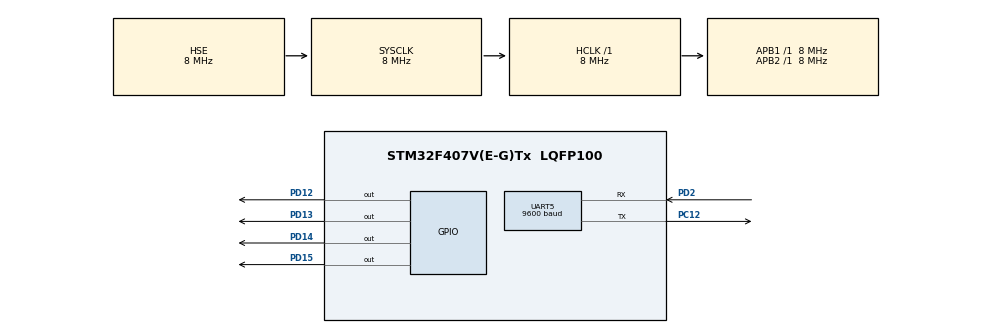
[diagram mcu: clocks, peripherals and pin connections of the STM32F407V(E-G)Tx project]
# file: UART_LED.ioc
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Mcu.Family=STM32F4
Mcu.Name=STM32F407V(E-G)Tx
Mcu.Package=LQFP100
NVIC.PriorityGroup=NVIC_PRIORITYGROUP_0
NVIC.UART5_IRQn=true\:0\:0\:false\:false\:true\:true\:true\:true
PA13.Mode=Serial_Wire
PA13.Signal=SYS_JTMS-SWDIO
PA14.Mode=Serial_Wire
PA14.Signal=SYS_JTCK-SWCLK
PC12.Mode=Asynchronous
PC12.Signal=UART5_TX
PD12.Signal=GPIO_Output
PD13.Signal=GPIO_Output
PD14.Signal=GPIO_Output
PD15.Signal=GPIO_Output
PD2.Mode=Asynchronous
PD2.Signal=UART5_RX
PH0-OSC_IN.Mode=HSE-External-Oscillator
PH0-OSC_IN.Signal=RCC_OSC_IN
PH1-OSC_OUT.Mode=HSE-External-Oscillator
PH1-OSC_OUT.Signal=RCC_OSC_OUT
ProjectManager.HeapSize=0x200
ProjectManager.StackSize=0x400
ProjectManager.TargetToolchain=STM32CubeIDE
RCC.48MHZClocksFreq_Value=48000000
RCC.AHBFreq_Value=8000000
RCC.APB1Freq_Value=8000000
RCC.APB1TimFreq_Value=8000000
RCC.APB2Freq_Value=8000000
RCC.APB2TimFreq_Value=8000000
RCC.CortexFreq_Value=8000000
RCC.HCLKFreq_Value=8000000
RCC.HSE_VALUE=8000000
RCC.HSI_VALUE=16000000
RCC.LSE_VALUE=32768
RCC.PLLM=8
RCC.PLLN=336
RCC.PLLQ=7
RCC.PLLSourceVirtual=RCC_PLLSOURCE_HSE
RCC.SYSCLKFreq_VALUE=8000000
RCC.SYSCLKSource=RCC_SYSCLKSOURCE_HSE
RCC.VCOOutputFreq_Value=336000000
UART5.BaudRate=9600
UART5.VirtualMode=Asynchronous
board=STM32F407G-DISC1

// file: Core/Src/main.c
/* USER CODE BEGIN Header */
/**
  ******************************************************************************
  * @file           : main.c
  * @brief          : Main program body
  ******************************************************************************
  * @attention
  *
  * Copyright (c) 2023 STMicroelectronics.
  * All rights reserved.
  *
  * This software is licensed under terms that can be found in the LICENSE file
  * in the root directory of this software component.
  * If no LICENSE file comes with this software, it is provided AS-IS.
  *
  ******************************************************************************
  */
/* USER CODE END Header */
#include "main.h"
/* USER CODE BEGIN Includes */
#include "string.h"
#include "UART.h"
/* USER CODE END Includes */

UART_HandleTypeDef huart5;

/* USER CODE BEGIN PV */
char data;
int32_t counter = 0;
int32_t counter1 = 0;
int32_t counter2 = 0;
int32_t counter3 = 0;
int32_t counterg = 0;

int32_t pointer = 0;

/* USER CODE END PV */

void SystemClock_Config(void);
static void MX_GPIO_Init(void);
static void MX_UART5_Init(void);

/* USER CODE BEGIN 0 */
void HAL_UART_RxCpltCallback(UART_HandleTypeDef *huart)
{
	counter++;
	if(strcmp(data, "0") == 0){
		led1_on;
		leds_off1;
		counter++;}
	else if(strcmp(data, "1") == 0){
			led2_on;
			leds_off2;
			counter1++;}
	else if(strcmp(data, "2") == 0){
			led3_on;
			leds_off3
			counter2++;}
	else if(strcmp(data, "3") == 0){
			led4_on;
			leds_off4
			counter3++;}
	else ;
	HAL_UART_Receive_IT(&huart5, (uint8_t *)data, sizeof(data));
	counterg++;

}

/* USER CODE END 0 */

int main(void)
{

  /* MCU Configuration--------------------------------------------------------*/

  /* Reset of all peripherals, Initializes the Flash interface and the Systick. */
  HAL_Init();

  /* Configure the system clock */
  SystemClock_Config();

  /* Initialize all configured peripherals */
  MX_GPIO_Init();
  MX_UART5_Init();
  /* USER CODE BEGIN 2 */
  HAL_UART_Receive_IT(&huart5, (uint8_t *)data, sizeof(data));
  /* USER CODE END 2 */

  /* Infinite loop */
  while (1)
  {
  }
}

void SystemClock_Config(void)
{
  RCC_OscInitTypeDef RCC_OscInitStruct = {0};
  RCC_ClkInitTypeDef RCC_ClkInitStruct = {0};

  /** Configure the main internal regulator output voltage
  */
  __HAL_RCC_PWR_CLK_ENABLE();
  __HAL_PWR_VOLTAGESCALING_CONFIG(PWR_REGULATOR_VOLTAGE_SCALE1);

  /** Initializes the RCC Oscillators according to the specified parameters
  * in the RCC_OscInitTypeDef structure.
  */
  RCC_OscInitStruct.OscillatorType = RCC_OSCILLATORTYPE_HSE;
  RCC_OscInitStruct.HSEState = RCC_HSE_ON;
  RCC_OscInitStruct.PLL.PLLState = RCC_PLL_NONE;
  if (HAL_RCC_OscConfig(&RCC_OscInitStruct) != HAL_OK)
  {
    Error_Handler();
  }

  /** Initializes the CPU, AHB and APB buses clocks
  */
  RCC_ClkInitStruct.ClockType = RCC_CLOCKTYPE_HCLK|RCC_CLOCKTYPE_SYSCLK
                              |RCC_CLOCKTYPE_PCLK1|RCC_CLOCKTYPE_PCLK2;
  RCC_ClkInitStruct.SYSCLKSource = RCC_SYSCLKSOURCE_HSE;
  RCC_ClkInitStruct.AHBCLKDivider = RCC_SYSCLK_DIV1;
  RCC_ClkInitStruct.APB1CLKDivider = RCC_HCLK_DIV1;
  RCC_ClkInitStruct.APB2CLKDivider = RCC_HCLK_DIV1;

  if (HAL_RCC_ClockConfig(&RCC_ClkInitStruct, FLASH_LATENCY_0) != HAL_OK)
  {
    Error_Handler();
  }
}

static void MX_UART5_Init(void)
{

  huart5.Instance = UART5;
  huart5.Init.BaudRate = 115200;
  huart5.Init.WordLength = UART_WORDLENGTH_8B;
  huart5.Init.StopBits = UART_STOPBITS_1;
  huart5.Init.Parity = UART_PARITY_NONE;
  huart5.Init.Mode = UART_MODE_TX_RX;
  huart5.Init.HwFlowCtl = UART_HWCONTROL_NONE;
  huart5.Init.OverSampling = UART_OVERSAMPLING_16;
  if (HAL_UART_Init(&huart5) != HAL_OK)
  {
    Error_Handler();
  }

}

static void MX_GPIO_Init(void)
{
  GPIO_InitTypeDef GPIO_InitStruct = {0};

  /* GPIO Ports Clock Enable */
  __HAL_RCC_GPIOH_CLK_ENABLE();
  __HAL_RCC_GPIOD_CLK_ENABLE();
  __HAL_RCC_GPIOA_CLK_ENABLE();
  __HAL_RCC_GPIOC_CLK_ENABLE();

  /*Configure GPIO pin Output Level */
  HAL_GPIO_WritePin(GPIOD, GPIO_PIN_12|GPIO_PIN_13|GPIO_PIN_14|GPIO_PIN_15, GPIO_PIN_RESET);

  /*Configure GPIO pins : PD12 PD13 PD14 PD15 */
  GPIO_InitStruct.Pin = GPIO_PIN_12|GPIO_PIN_13|GPIO_PIN_14|GPIO_PIN_15;
  GPIO_InitStruct.Mode = GPIO_MODE_OUTPUT_PP;
  GPIO_InitStruct.Pull = GPIO_NOPULL;
  GPIO_InitStruct.Speed = GPIO_SPEED_FREQ_LOW;
  HAL_GPIO_Init(GPIOD, &GPIO_InitStruct);

}

void Error_Handler(void)
{
  __disable_irq();
  while (1)
  {
  }
}
